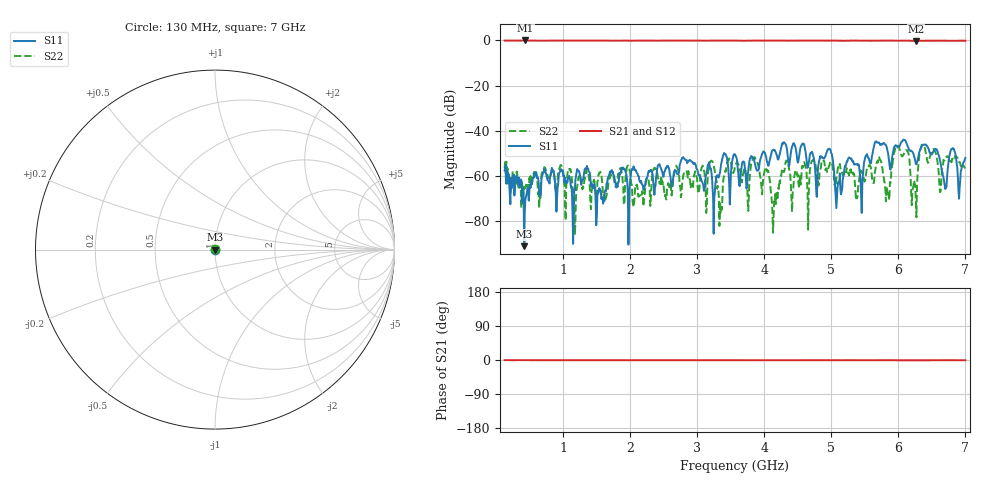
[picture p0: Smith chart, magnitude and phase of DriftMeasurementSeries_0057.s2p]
# Hz S RI R 50.000000
! Metas.Vna.Tools, 2.8.8664.20301
! Metas.Vna.Data, 2.8.8664.20285
! Created: UTC 2024.02.11 10:08:28
! FREQ  re:S1,1  im:S1,1  re:S2,1  im:S2,1  re:S1,2  im:S1,2  re:S2,2  im:S2,2
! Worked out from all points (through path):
!   801 points, 130 MHz to 7 GHz, reference 50 ohm
!   highest |S21| = -0.01 dB at 439.1 MHz (marker M1); lowest = -0.2 dB at 6.261 GHz (marker M2)
!   lowest |S11| = -91.1 dB at 422 MHz (marker M3), VSWR 1.00, Z = 50 - j0.00253 ohm
!   |S11| at or under -10 dB: start of sweep to end of sweep
!   |S22| runs from -86.2 to -46.3 dB; largest |S21 - S12| = 0.02
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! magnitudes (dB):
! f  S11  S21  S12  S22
! 130 MHz  -57.7  0.0  0.0  -56.6
! 422 MHz  -91.1  0.0  0.0  -64.3
! 439.1 MHz  -70.7  0.0  0.0  -64.9
! 1.281 GHz  -61.8  0.0  0.0  -63.9
! 2.423 GHz  -55.1  -0.1  0.0  -61.8
! 3.213 GHz  -58.3  -0.1  0.0  -53.3
! 3.342 GHz  -58.6  -0.1  0.0  -71.2
! 3.565 GHz  -50.4  -0.1  0.0  -55.7
! 3.866 GHz  -54.9  -0.1  0.0  -52.2
! 4.14 GHz  -48.4  -0.1  0.0  -77.9
! 4.321 GHz  -46.1  -0.1  0.0  -53.9
! 4.716 GHz  -49.4  -0.1  0.0  -53.3
! 4.982 GHz  -48.1  -0.1  0.0  -54.1
! 5.085 GHz  -69.3  -0.1  0.0  -59.3
! 5.712 GHz  -45.2  -0.1  0.0  -51.4
! 5.858 GHz  -52.3  -0.1  0.0  -69.3
! 5.987 GHz  -47.2  -0.1  0.0  -46.8
! 6.261 GHz  -54.8  -0.2  0.0  -71.3
! 6.365 GHz  -46.2  -0.2  0.0  -46.3
! 6.691 GHz  -64.1  -0.1  0.0  -53.0
! 6.794 GHz  -48.0  -0.1  0.0  -54.0
! 7 GHz  -52.0  -0.1  0.0  -56.6
